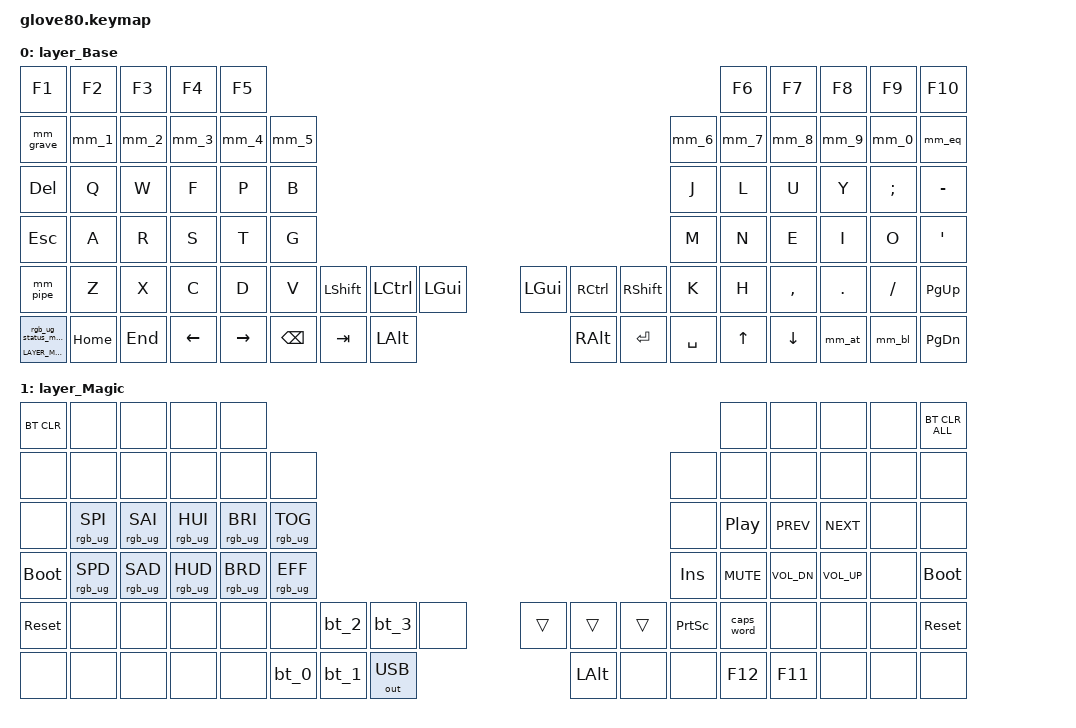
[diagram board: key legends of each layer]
/*
 * Copyright (c) 2020 The ZMK Contributors
 * Copyright (c) 2025 Innaworks Development Limited, trading as MoErgo
 *
 * SPDX-License-Identifier: MIT
 */


/* THIS FILE WAS GENERATED BY GLOVE80 LAYOUT EDITOR
 *
 * This file was generated automatically. You may or may not want to
 * edit it directly.
 */

#include <behaviors.dtsi>
/* Include all behavior includes needed */
#include <dt-bindings/zmk/outputs.h>
#include <dt-bindings/zmk/keys.h>
#include <dt-bindings/zmk/bt.h>
#include <dt-bindings/zmk/rgb.h>

/* On demand includes */


/* Helper Macros, based on https://github.com/urob/zmk-helpers/ */

#pragma once

#define ZMK_HELPER_STRINGIFY(x) #x

// Preprocessor mechanism to overload macros, cf. https://stackoverflow.com/a/27051616/6114651
#define VARGS_(_10, _9, _8, _7, _6, _5, _4, _3, _2, _1, N, ...) N
#define VARGS(...) VARGS_(__VA_ARGS__, 10, 9, 8, 7, 6, 5, 4, 3, 2, 1, 0)
#define CONCAT_(a, b) a##b
#define CONCAT(a, b) CONCAT_(a, b)

#define ZMK_BEHAVIOR_CORE_tap_dance  \
    compatible = "zmk,behavior-tap-dance"; \
    #binding-cells = <0>

#define ZMK_BEHAVIOR(name, type, ...) \
    name: name { \
        ZMK_BEHAVIOR_CORE_ ## type; \
        __VA_ARGS__ \
    };

#define ZMK_TAP_DANCE(name, ...) \
    ZMK_BEHAVIOR(name, tap_dance, __VA_ARGS__)

#define ZMK_TD_LAYER(name, layer) \
    ZMK_TAP_DANCE(name, \
        tapping-term-ms = <200>; \
        bindings = <&mo layer>, <&to layer>; \
)

/* Environment and metadata defines */
#define KB_TYPE_GLOVE_80 1
#define KB_TYPE_GO_60    2

#define KB_TYPE          KB_TYPE_GLOVE_80
#define EDITOR_HOST_OS   'L'

/* Automatically generated layer name defines */
#define LAYER_Base 0
#define LAYER_Magic 1

/* To deal with the situation where there is no Lower layer, to keep &lower happy */
#ifndef LAYER_Lower
#define LAYER_Lower 0
#endif

/* Custom Device-tree */


/* Input Listeners */


/* System behavior and Macros */
/ {
    behaviors {
        ZMK_TD_LAYER(lower, LAYER_Lower)
    };
};

/ {
    macros {
        rgb_ug_status_macro: rgb_ug_status_macro {
            label = "RGB_UG_STATUS";
            compatible = "zmk,behavior-macro";
            #binding-cells = <0>;
            bindings
                = <&rgb_ug RGB_STATUS>;
        };
    };
};


/ {
#ifdef BT_DISC_CMD
    behaviors {
        bt_0: bt_0 {
            compatible = "zmk,behavior-tap-dance";
            label = "BT_0";
            #binding-cells = <0>;
            tapping-term-ms = <200>;
            bindings = <&bt_select_0>, <&bt BT_DISC 0>;
        };
        bt_1: bt_1 {
            compatible = "zmk,behavior-tap-dance";
            label = "BT_1";
            #binding-cells = <0>;
            tapping-term-ms = <200>;
            bindings = <&bt_select_1>, <&bt BT_DISC 1>;
        };
        bt_2: bt_2 {
            compatible = "zmk,behavior-tap-dance";
            label = "BT_2";
            #binding-cells = <0>;
            tapping-term-ms = <200>;
            bindings = <&bt_select_2>, <&bt BT_DISC 2>;
        };
        bt_3: bt_3 {
            compatible = "zmk,behavior-tap-dance";
            label = "BT_3";
            #binding-cells = <0>;
            tapping-term-ms = <200>;
            bindings = <&bt_select_3>, <&bt BT_DISC 3>;
        };
    };
    macros {
        bt_select_0: bt_select_0 {
            label = "BT_SELECT_0";
            compatible = "zmk,behavior-macro";
            #binding-cells = <0>;
            bindings
                = <&out OUT_BLE>,
                  <&bt BT_SEL 0>;
        };
        bt_select_1: bt_select_1 {
            label = "BT_SELECT_1";
            compatible = "zmk,behavior-macro";
            #binding-cells = <0>;
            bindings
                = <&out OUT_BLE>,
                  <&bt BT_SEL 1>;
        };
        bt_select_2: bt_select_2 {
            label = "BT_SELECT_2";
            compatible = "zmk,behavior-macro";
            #binding-cells = <0>;
            bindings
                = <&out OUT_BLE>,
                  <&bt BT_SEL 2>;
        };
        bt_select_3: bt_select_3 {
            label = "BT_SELECT_3";
            compatible = "zmk,behavior-macro";
            #binding-cells = <0>;
            bindings
                = <&out OUT_BLE>,
                  <&bt BT_SEL 3>;
        };
    };
#else
    macros {
        bt_0: bt_0 {
            label = "BT_0";
            compatible = "zmk,behavior-macro";
            #binding-cells = <0>;
            bindings
                = <&out OUT_BLE>,
                  <&bt BT_SEL 0>;
        };
        bt_1: bt_1 {
            label = "BT_1";
            compatible = "zmk,behavior-macro";
            #binding-cells = <0>;
            bindings
                = <&out OUT_BLE>,
                  <&bt BT_SEL 1>;
        };
        bt_2: bt_2 {
            label = "BT_2";
            compatible = "zmk,behavior-macro";
            #binding-cells = <0>;
            bindings
                = <&out OUT_BLE>,
                  <&bt BT_SEL 2>;
        };
        bt_3: bt_3 {
            label = "BT_3";
            compatible = "zmk,behavior-macro";
            #binding-cells = <0>;
            bindings
                = <&out OUT_BLE>,
                  <&bt BT_SEL 3>;
        };
    };
#endif
};

/ {
    behaviors {
        magic: magic {
            compatible = "zmk,behavior-hold-tap";
            label = "MAGIC_HOLD_TAP";
            #binding-cells = <2>;
            flavor = "tap-preferred";
            tapping-term-ms = <200>;
            bindings = <&mo>, <&rgb_ug_status_macro>;
        };
    };
};

/* -------------------------------------------------------
 * Mod-morph behaviors for the number row.
 *
 * Normal press  → $  +  [  {  (  &  =  )  }  ]  *  !
 * Shift + press → ~  1  2  3  4  5  6  7  8  9  0  %
 * ------------------------------------------------------- */
/ {
    behaviors {
        mm_grave_base: mm_grave_base {
            compatible = "zmk,behavior-mod-morph";
            #binding-cells = <0>;
            bindings = <&kp DLLR>, <&kp TILDE>;
            mods = <(MOD_LSFT|MOD_RSFT)>;
        };
        mm_grave: mm_grave {
            compatible = "zmk,behavior-mod-morph";
            #binding-cells = <0>;
            bindings = <&mm_grave_base>, <&kp TILDE>;
            mods = <(MOD_LCTL|MOD_RCTL|MOD_LALT|MOD_RALT|MOD_LGUI|MOD_RGUI)>;
            keep-mods = <(MOD_LCTL|MOD_RCTL|MOD_LALT|MOD_RALT|MOD_LGUI|MOD_RGUI)>;
        };
        mm_1_base: mm_1_base {
            compatible = "zmk,behavior-mod-morph";
            #binding-cells = <0>;
            bindings = <&kp PLUS>, <&kp N1>;
            mods = <(MOD_LSFT|MOD_RSFT)>;
        };
        mm_1: mm_1 {
            compatible = "zmk,behavior-mod-morph";
            #binding-cells = <0>;
            bindings = <&mm_1_base>, <&kp N1>;
            mods = <(MOD_LCTL|MOD_RCTL|MOD_LALT|MOD_RALT|MOD_LGUI|MOD_RGUI)>;
            keep-mods = <(MOD_LCTL|MOD_RCTL|MOD_LALT|MOD_RALT|MOD_LGUI|MOD_RGUI)>;
        };
        mm_2_base: mm_2_base {
            compatible = "zmk,behavior-mod-morph";
            #binding-cells = <0>;
            bindings = <&kp LBKT>, <&kp N2>;
            mods = <(MOD_LSFT|MOD_RSFT)>;
        };
        mm_2: mm_2 {
            compatible = "zmk,behavior-mod-morph";
            #binding-cells = <0>;
            bindings = <&mm_2_base>, <&kp N2>;
            mods = <(MOD_LCTL|MOD_RCTL|MOD_LALT|MOD_RALT|MOD_LGUI|MOD_RGUI)>;
            keep-mods = <(MOD_LCTL|MOD_RCTL|MOD_LALT|MOD_RALT|MOD_LGUI|MOD_RGUI)>;
        };
        mm_3_base: mm_3_base {
            compatible = "zmk,behavior-mod-morph";
            #binding-cells = <0>;
            bindings = <&kp LBRC>, <&kp N3>;
            mods = <(MOD_LSFT|MOD_RSFT)>;
        };
        mm_3: mm_3 {
            compatible = "zmk,behavior-mod-morph";
            #binding-cells = <0>;
            bindings = <&mm_3_base>, <&kp N3>;
            mods = <(MOD_LCTL|MOD_RCTL|MOD_LALT|MOD_RALT|MOD_LGUI|MOD_RGUI)>;
            keep-mods = <(MOD_LCTL|MOD_RCTL|MOD_LALT|MOD_RALT|MOD_LGUI|MOD_RGUI)>;
        };
        mm_4_base: mm_4_base {
            compatible = "zmk,behavior-mod-morph";
            #binding-cells = <0>;
            bindings = <&kp LPAR>, <&kp N4>;
            mods = <(MOD_LSFT|MOD_RSFT)>;
        };
        mm_4: mm_4 {
            compatible = "zmk,behavior-mod-morph";
            #binding-cells = <0>;
            bindings = <&mm_4_base>, <&kp N4>;
            mods = <(MOD_LCTL|MOD_RCTL|MOD_LALT|MOD_RALT|MOD_LGUI|MOD_RGUI)>;
            keep-mods = <(MOD_LCTL|MOD_RCTL|MOD_LALT|MOD_RALT|MOD_LGUI|MOD_RGUI)>;
        };
        mm_5_base: mm_5_base {
            compatible = "zmk,behavior-mod-morph";
            #binding-cells = <0>;
            bindings = <&kp AMPS>, <&kp N5>;
            mods = <(MOD_LSFT|MOD_RSFT)>;
        };
        mm_5: mm_5 {
            compatible = "zmk,behavior-mod-morph";
            #binding-cells = <0>;
            bindings = <&mm_5_base>, <&kp N5>;
            mods = <(MOD_LCTL|MOD_RCTL|MOD_LALT|MOD_RALT|MOD_LGUI|MOD_RGUI)>;
            keep-mods = <(MOD_LCTL|MOD_RCTL|MOD_LALT|MOD_RALT|MOD_LGUI|MOD_RGUI)>;
        };
        mm_6_base: mm_6_base {
            compatible = "zmk,behavior-mod-morph";
            #binding-cells = <0>;
            bindings = <&kp EQUAL>, <&kp N6>;
            mods = <(MOD_LSFT|MOD_RSFT)>;
        };
        mm_6: mm_6 {
            compatible = "zmk,behavior-mod-morph";
            #binding-cells = <0>;
            bindings = <&mm_6_base>, <&kp N6>;
            mods = <(MOD_LCTL|MOD_RCTL|MOD_LALT|MOD_RALT|MOD_LGUI|MOD_RGUI)>;
            keep-mods = <(MOD_LCTL|MOD_RCTL|MOD_LALT|MOD_RALT|MOD_LGUI|MOD_RGUI)>;
        };
        mm_7_base: mm_7_base {
            compatible = "zmk,behavior-mod-morph";
            #binding-cells = <0>;
            bindings = <&kp RPAR>, <&kp N7>;
            mods = <(MOD_LSFT|MOD_RSFT)>;
        };
        mm_7: mm_7 {
            compatible = "zmk,behavior-mod-morph";
            #binding-cells = <0>;
            bindings = <&mm_7_base>, <&kp N7>;
            mods = <(MOD_LCTL|MOD_RCTL|MOD_LALT|MOD_RALT|MOD_LGUI|MOD_RGUI)>;
            keep-mods = <(MOD_LCTL|MOD_RCTL|MOD_LALT|MOD_RALT|MOD_LGUI|MOD_RGUI)>;
        };
        mm_8_base: mm_8_base {
            compatible = "zmk,behavior-mod-morph";
            #binding-cells = <0>;
            bindings = <&kp RBRC>, <&kp N8>;
            mods = <(MOD_LSFT|MOD_RSFT)>;
        };
        mm_8: mm_8 {
            compatible = "zmk,behavior-mod-morph";
            #binding-cells = <0>;
            bindings = <&mm_8_base>, <&kp N8>;
            mods = <(MOD_LCTL|MOD_RCTL|MOD_LALT|MOD_RALT|MOD_LGUI|MOD_RGUI)>;
            keep-mods = <(MOD_LCTL|MOD_RCTL|MOD_LALT|MOD_RALT|MOD_LGUI|MOD_RGUI)>;
        };
        mm_9_base: mm_9_base {
            compatible = "zmk,behavior-mod-morph";
            #binding-cells = <0>;
            bindings = <&kp RBKT>, <&kp N9>;
            mods = <(MOD_LSFT|MOD_RSFT)>;
        };
        mm_9: mm_9 {
            compatible = "zmk,behavior-mod-morph";
            #binding-cells = <0>;
            bindings = <&mm_9_base>, <&kp N9>;
            mods = <(MOD_LCTL|MOD_RCTL|MOD_LALT|MOD_RALT|MOD_LGUI|MOD_RGUI)>;
            keep-mods = <(MOD_LCTL|MOD_RCTL|MOD_LALT|MOD_RALT|MOD_LGUI|MOD_RGUI)>;
        };
        mm_0_base: mm_0_base {
            compatible = "zmk,behavior-mod-morph";
            #binding-cells = <0>;
            bindings = <&kp STAR>, <&kp N0>;
            mods = <(MOD_LSFT|MOD_RSFT)>;
        };
        mm_0: mm_0 {
            compatible = "zmk,behavior-mod-morph";
            #binding-cells = <0>;
            bindings = <&mm_0_base>, <&kp N0>;
            mods = <(MOD_LCTL|MOD_RCTL|MOD_LALT|MOD_RALT|MOD_LGUI|MOD_RGUI)>;
            keep-mods = <(MOD_LCTL|MOD_RCTL|MOD_LALT|MOD_RALT|MOD_LGUI|MOD_RGUI)>;
        };
        mm_eq: mm_eq {
            compatible = "zmk,behavior-mod-morph";
            #binding-cells = <0>;
            bindings = <&kp EXCL>, <&kp PRCNT>;
            mods = <(MOD_LSFT|MOD_RSFT)>;
        };
        mm_pipe: mm_pipe {
            compatible = "zmk,behavior-mod-morph";
            #binding-cells = <0>;
            bindings = <&kp PIPE>, <&kp GRAVE>;
            mods = <(MOD_LSFT|MOD_RSFT)>;
        };
        mm_at: mm_at {
            compatible = "zmk,behavior-mod-morph";
            #binding-cells = <0>;
            bindings = <&kp AT>, <&kp CARET>;
            mods = <(MOD_LSFT|MOD_RSFT)>;
        };
        mm_bl: mm_bl {
            compatible = "zmk,behavior-mod-morph";
            #binding-cells = <0>;
            bindings = <&kp BACKSLASH>, <&kp HASH>;
            mods = <(MOD_LSFT|MOD_RSFT)>;
        };
    };
};


/* Key positions */

#define POS_LH_C6R1 0
#define POS_LH_C5R1 1
#define POS_LH_C4R1 2
#define POS_LH_C3R1 3
#define POS_LH_C2R1 4
#define POS_RH_C2R1 5
#define POS_RH_C3R1 6
#define POS_RH_C4R1 7
#define POS_RH_C5R1 8
#define POS_RH_C6R1 9
#define POS_LH_C6R2 10
#define POS_LH_C5R2 11
#define POS_LH_C4R2 12
#define POS_LH_C3R2 13
#define POS_LH_C2R2 14
#define POS_LH_C1R2 15
#define POS_RH_C1R2 16
#define POS_RH_C2R2 17
#define POS_RH_C3R2 18
#define POS_RH_C4R2 19
#define POS_RH_C5R2 20
#define POS_RH_C6R2 21
#define POS_LH_C6R3 22
#define POS_LH_C5R3 23
#define POS_LH_C4R3 24
#define POS_LH_C3R3 25
#define POS_LH_C2R3 26
#define POS_LH_C1R3 27
#define POS_RH_C1R3 28
#define POS_RH_C2R3 29
#define POS_RH_C3R3 30
#define POS_RH_C4R3 31
#define POS_RH_C5R3 32
#define POS_RH_C6R3 33
#define POS_LH_C6R4 34
#define POS_LH_C5R4 35
#define POS_LH_C4R4 36
#define POS_LH_C3R4 37
#define POS_LH_C2R4 38
#define POS_LH_C1R4 39
#define POS_RH_C1R4 40
#define POS_RH_C2R4 41
#define POS_RH_C3R4 42
#define POS_RH_C4R4 43
#define POS_RH_C5R4 44
#define POS_RH_C6R4 45
#define POS_LH_C6R5 46
#define POS_LH_C5R5 47
#define POS_LH_C4R5 48
#define POS_LH_C3R5 49
#define POS_LH_C2R5 50
#define POS_LH_C1R5 51
#define POS_LH_T1 52
#define POS_LH_T2 53
#define POS_LH_T3 54
#define POS_RH_T3 55
#define POS_RH_T2 56
#define POS_RH_T1 57
#define POS_RH_C1R5 58
#define POS_RH_C2R5 59
#define POS_RH_C3R5 60
#define POS_RH_C4R5 61
#define POS_RH_C5R5 62
#define POS_RH_C6R5 63
#define POS_LH_C6R6 64
#define POS_LH_C5R6 65
#define POS_LH_C4R6 66
#define POS_LH_C3R6 67
#define POS_LH_C2R6 68
#define POS_LH_T4 69
#define POS_LH_T5 70
#define POS_LH_T6 71
#define POS_RH_T6 72
#define POS_RH_T5 73
#define POS_RH_T4 74
#define POS_RH_C2R6 75
#define POS_RH_C3R6 76
#define POS_RH_C4R6 77
#define POS_RH_C5R6 78
#define POS_RH_C6R6 79


/* Custom Defined Behaviors */
/ {

};

/* Generated input processors */


/* Automatically generated macro definitions */
/ {
    macros {

    };
};

/* Automatically generated behavior definitions */
/ {
    behaviors {


    };
};

/* Automatically generated combos definitions */


/* Automatically generated keymap */
/ {
    keymap {
        compatible = "zmk,keymap";


        layer_Base {
            bindings = <
               &kp F1    &kp F2   &kp F3    &kp F4     &kp F5                                                                                     &kp F6     &kp F7    &kp F8    &kp F9    &kp F10
            &mm_grave    &mm_1    &mm_2     &mm_3      &mm_4   &mm_5                                                                   &mm_6   &mm_7      &mm_8     &mm_9     &mm_0    &mm_eq
              &kp DEL     &kp Q    &kp W     &kp F      &kp P   &kp B                                                                   &kp J   &kp L      &kp U     &kp Y  &kp SEMI  &kp MINUS
              &kp ESC     &kp A    &kp R     &kp S      &kp T   &kp G                                                                   &kp M   &kp N      &kp E     &kp I     &kp O    &kp SQT
             &mm_pipe     &kp Z    &kp X     &kp C      &kp D   &kp V  &kp LSHFT  &kp LCTRL  &kp LGUI  &kp LGUI  &kp RCTRL  &kp RSHFT   &kp K   &kp H  &kp COMMA   &kp DOT  &kp FSLH  &kp PG_UP
 &magic LAYER_Magic 0  &kp HOME  &kp END  &kp LEFT  &kp RIGHT           &kp BSPC    &kp TAB  &kp LALT  &kp RALT    &kp RET  &kp SPACE          &kp UP   &kp DOWN  &mm_at  &mm_bl  &kp PG_DN
            >;
        };

        layer_Magic {
            bindings = <
  &bt BT_CLR            &none            &none            &none            &none                                                                                           &none         &none         &none   &none  &bt BT_CLR_ALL
       &none            &none            &none            &none            &none            &none                                                              &none       &none         &none         &none   &none           &none
       &none  &rgb_ug RGB_SPI  &rgb_ug RGB_SAI  &rgb_ug RGB_HUI  &rgb_ug RGB_BRI  &rgb_ug RGB_TOG                                                              &none    &kp C_PP    &kp C_PREV    &kp C_NEXT   &none           &none
 &bootloader  &rgb_ug RGB_SPD  &rgb_ug RGB_SAD  &rgb_ug RGB_HUD  &rgb_ug RGB_BRD  &rgb_ug RGB_EFF                                                            &kp INS  &kp C_MUTE  &kp C_VOL_DN  &kp C_VOL_UP   &none     &bootloader
  &sys_reset            &none            &none            &none            &none            &none   &bt_2   &bt_3         &none    &trans  &trans  &trans  &kp PSCRN  &caps_word         &none         &none   &none      &sys_reset
       &none            &none            &none            &none            &none                    &bt_0   &bt_1  &out OUT_USB  &kp LALT   &none   &none                &kp F12       &kp F11         &none   &none           &none
            >;
        };

    };
};
